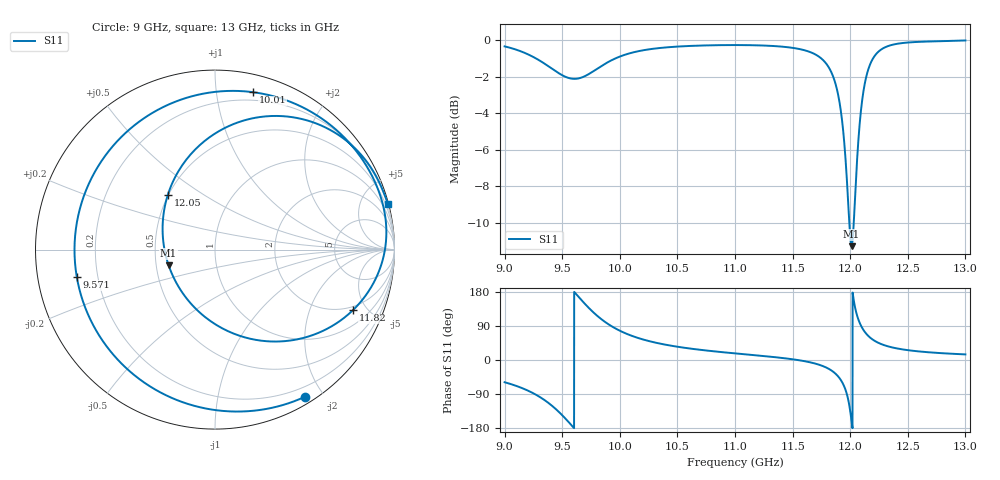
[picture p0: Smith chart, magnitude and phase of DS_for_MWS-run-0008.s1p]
! TOUCHSTONE file generated by CST DESIGN STUDIO
! Date and time: Tue Feb  4 13:53:41 2025
! Project name: C:\Work\MatlabApps\UnitCellOptimizationMatlab\CST\unitcell.cst
! Tree item: Tasks\Sweep1\SPara1\S-Parameters
! Header version: 2024
! Port assignment regex: !\s*Touchstone port\s*([0-9]+)\s*=\s*(CST MWS port|CST DES external port|CST DES block port)\s*(.+)\s* \(\"(.*)\"\)(\s*mode\s*([0-9]+))?.*
! Touchstone port assignment:
! Touchstone port 1 = CST DES external port 1 ("")
# GHz S MA R 50
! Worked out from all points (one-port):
!   4001 points, 9 GHz to 13 GHz, reference 50 ohm
!   lowest |S11| = -11.3 dB at 12.01 GHz (marker M1), VSWR 1.75, Z = 29.1 - j5.49 ohm
!   |S11| at or under -10 dB: 11.99219 GHz to 12.03097 GHz (38.78 MHz wide, 0.323 % of centre)
!   S11 on the Smith chart (normalised r, x): 9 GHz: 0.08, -1.78; 9.571 GHz: 0.12, -0.10; 10.01 GHz: 0.13, +1.26; 11.82 GHz: 1.77, -4.04; 12.05 GHz: 0.50, +0.36; 13 GHz: 0.09, +7.71
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9  0.9606 -58.7
9.153  0.928 -74.3
9.304  0.8785 -97.3
9.406  0.8368 -119.4
9.5  0.801 -145.7
9.571  0.785 -168.9
9.668  0.7893 157.8
9.785  0.8271 121.7
9.882  0.8644 98.3
10  0.9008 77.3
10.006  0.9023 76.4
10.219  0.9392 52.7
10.5  0.9594 35.0
11  0.9687 17.5
11.5  0.9518 1.9
11.698  0.9129 -9.6
11.816  0.8395 -23.7
11.88  0.7436 -38.3
11.935  0.5807 -61.4
11.969  0.4254 -87.8
12  0.2898 -134.5
12.012  0.2727 -161.3
12.048  0.4026 130.8
12.093  0.6394 91.0
12.145  0.8063 67.3
12.274  0.9442 41.5
12.5  0.9843 26.0
13  0.9972 14.8
